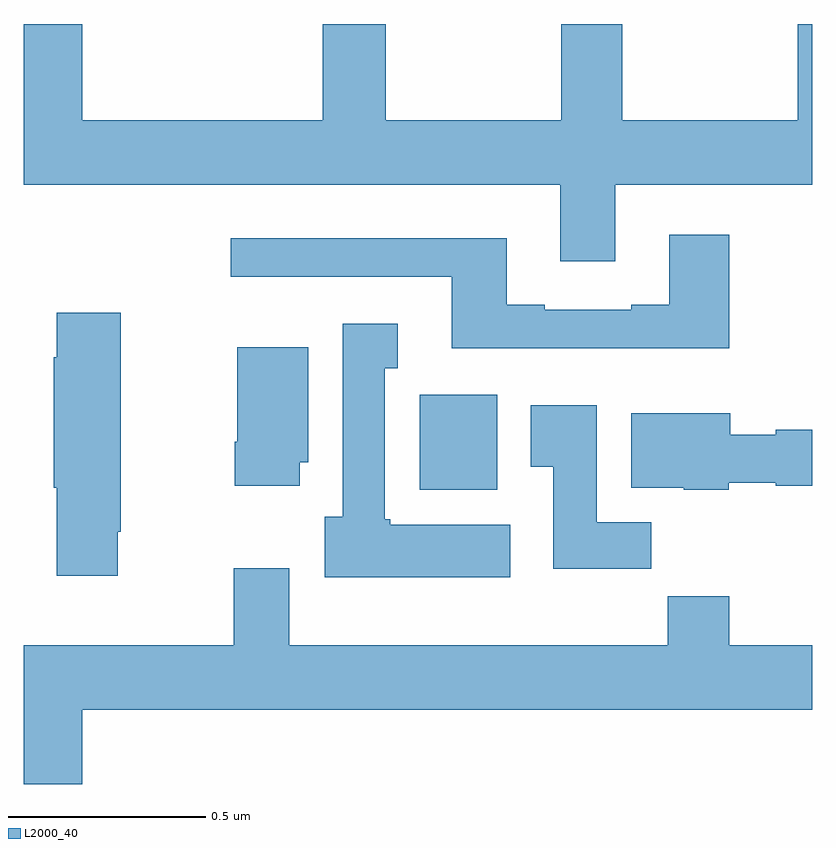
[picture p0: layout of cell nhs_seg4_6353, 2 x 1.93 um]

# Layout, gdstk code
import gdstk
lib = gdstk.Library(unit=1e-6, precision=1e-09)
def R(c, l, rs):  # rectangles x0, y0, x1, y1
    for r in rs: c.add(gdstk.rectangle(r[:2], r[2:], *l))
def P(c, l, *ps):  # polygons
    for p in ps: c.add(gdstk.Polygon(p, *l))
L2000_40 = (2000, 40)

nhs_seg4_6353 = lib.new_cell('nhs_seg4_6353')
R(nhs_seg4_6353, L2000_40, [(190.004,790.718,190.201,790.96)])
P(nhs_seg4_6353, L2000_40, [(190.501,791.492),(191,791.492),(191,791.9),(190.963,791.9),(190.963,791.656),(190.518,791.656),(190.518,791.9),(190.363,791.9),(190.363,791.656),(189.918,791.656),(189.918,791.9),(189.758,791.9),(189.758,791.656),(189.148,791.656),(189.148,791.9),(189,791.9),(189,791.492),(190.361,791.492),(190.361,791.298),(190.501,791.298)],
  [(190.79,791.365),(190.637,791.365),(190.637,791.188),(190.541,791.188),(190.541,791.175),(190.321,791.175),(190.321,791.188),(190.225,791.188),(190.225,791.356),(189.525,791.356),(189.525,791.259),(190.085,791.259),(190.085,791.078),(190.79,791.078)],
  [(189.238,790.612),(189.246,790.612),(189.246,791.167),(189.083,791.167),(189.083,791.054),(189.076,791.054),(189.076,790.723),(189.083,790.723),(189.083,790.5),(189.238,790.5)],
  [(190.234,790.63),(189.93,790.63),(189.93,790.644),(189.916,790.644),(189.916,791.027),(189.949,791.027),(189.949,791.14),(189.809,791.14),(189.809,790.65),(189.764,790.65),(189.764,790.496),(190.234,790.496)],
  [(189.7,790.788),(189.721,790.788),(189.721,791.08),(189.542,791.08),(189.542,790.84),(189.535,790.84),(189.535,790.728),(189.7,790.728)],
  [(190.592,790.636),(190.453,790.636),(190.453,790.933),(190.286,790.933),(190.286,790.777),(190.343,790.777),(190.343,790.518),(190.592,790.518)],
  [(190.788,790.736),(190.908,790.736),(190.908,790.729),(191,790.729),(191,790.871),(190.908,790.871),(190.908,790.858),(190.792,790.858),(190.792,790.912),(190.541,790.912),(190.541,790.724),(190.674,790.724),(190.674,790.718),(190.788,790.718)],
  [(189.148,790.16),(191,790.16),(191,790.324),(190.79,790.324),(190.79,790.448),(190.633,790.448),(190.633,790.324),(189.673,790.324),(189.673,790.519),(189.533,790.519),(189.533,790.324),(189,790.324),(189,789.972),(189.148,789.972)])

lib.write_gds('nhs_seg4_6353.gds')
